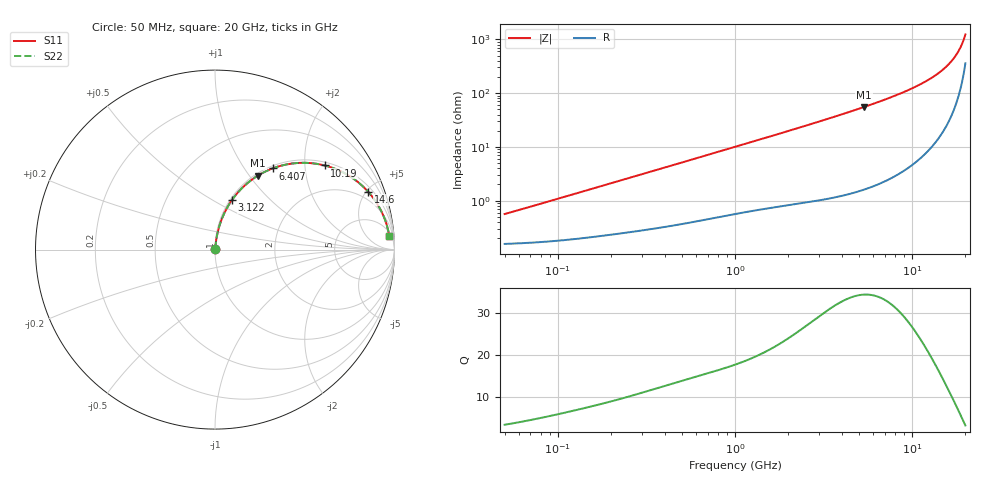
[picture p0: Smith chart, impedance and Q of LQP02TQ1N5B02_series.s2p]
!Murata Part Number: LQP02TQ1N5B02
!These Parameters are Measured in Series Mode Connection
!  o--[Z]--o
!Port1  Port2
!  o-------o
!Freq. Start=50[MHz] Stop=20[GHz], 401[Steps]
# Hz S RI R 50
!Freq.(Hz) S11(Real) S11(Imag) S21(Real) S21(Imag) S12(Real) S12(Imag) S22(Real) S22(Imag)
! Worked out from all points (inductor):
!   401 points, 50 MHz to 20 GHz, reference 50 ohm
!   read as one part in series: L = 1.72 nH near 51.52 MHz
!   highest Q = 34.4 at 5.353 GHz (marker M1), where L = 1.64 nH
!   S11 on the Smith chart (normalised r, x): 50 MHz: 1.00, +0.01; 3.122 GHz: 1.02, +0.62; 6.407 GHz: 1.04, +1.36; 10.19 GHz: 1.10, +2.53; 14.6 GHz: 1.34, +5.14; 20 GHz: 8, +24
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5e7  0.00159 0.0054  0.9984 -0.0054  0.9984 -0.0054  0.00159 0.0054
1.364002e8  0.0022 0.0144  0.9978 -0.0144  0.9978 -0.0144  0.0022 0.0144
3.721004e8  0.00456 0.038  0.9954 -0.038  0.9954 -0.038  0.00456 0.038
6.285508e8  0.00818 0.0629  0.9918 -0.0629  0.9918 -0.0629  0.00818 0.0629
1e9  0.0153 0.0979  0.9847 -0.0979  0.9847 -0.0979  0.0153 0.0979
1.689197e9  0.034 0.1601  0.966 -0.1601  0.966 -0.1601  0.034 0.1601
2.728004e9  0.0756 0.2472  0.9244 -0.2472  0.9244 -0.2472  0.0756 0.2472
3.121702e9  0.0954 0.2775  0.9046 -0.2775  0.9046 -0.2775  0.0954 0.2775
4.149438e9  0.156 0.3481  0.844 -0.3481  0.844 -0.3481  0.156 0.3481
5.352748e9  0.24 0.4128  0.76 -0.4128  0.76 -0.4128  0.24 0.4128
6.406762e9  0.3207 0.4522  0.6793 -0.4522  0.6793 -0.4522  0.3207 0.4522
7.442007e9  0.4026 0.4753  0.5974 -0.4753  0.5974 -0.4753  0.4026 0.4753
8.774992e9  0.5069 0.4834  0.4931 -0.4834  0.4931 -0.4834  0.5069 0.4834
1.019291e10  0.611 0.4688  0.389 -0.4688  0.389 -0.4688  0.611 0.4688
1.238412e10  0.7487 0.4102  0.2513 -0.4102  0.2513 -0.4102  0.7487 0.4102
1.354865e10  0.8081 0.3666  0.1919 -0.3666  0.1919 -0.3666  0.8081 0.3666
1.460232e10  0.8533 0.3223  0.1467 -0.3223  0.1467 -0.3223  0.8533 0.3223
1.621653e10  0.9074 0.2491  0.0926 -0.2491  0.0926 -0.2491  0.9074 0.2491
1.747767e10  0.9377 0.1901  0.0623 -0.1901  0.0623 -0.1901  0.9377 0.1901
1.855685e10  0.9562 0.1396  0.0438 -0.1396  0.0438 -0.1396  0.9562 0.1396
1.970266e10  0.9691 0.087  0.0309 -0.087  0.0309 -0.087  0.9691 0.087
2e10  0.9714 0.0736  0.0286 -0.0736  0.0286 -0.0736  0.9714 0.0736
